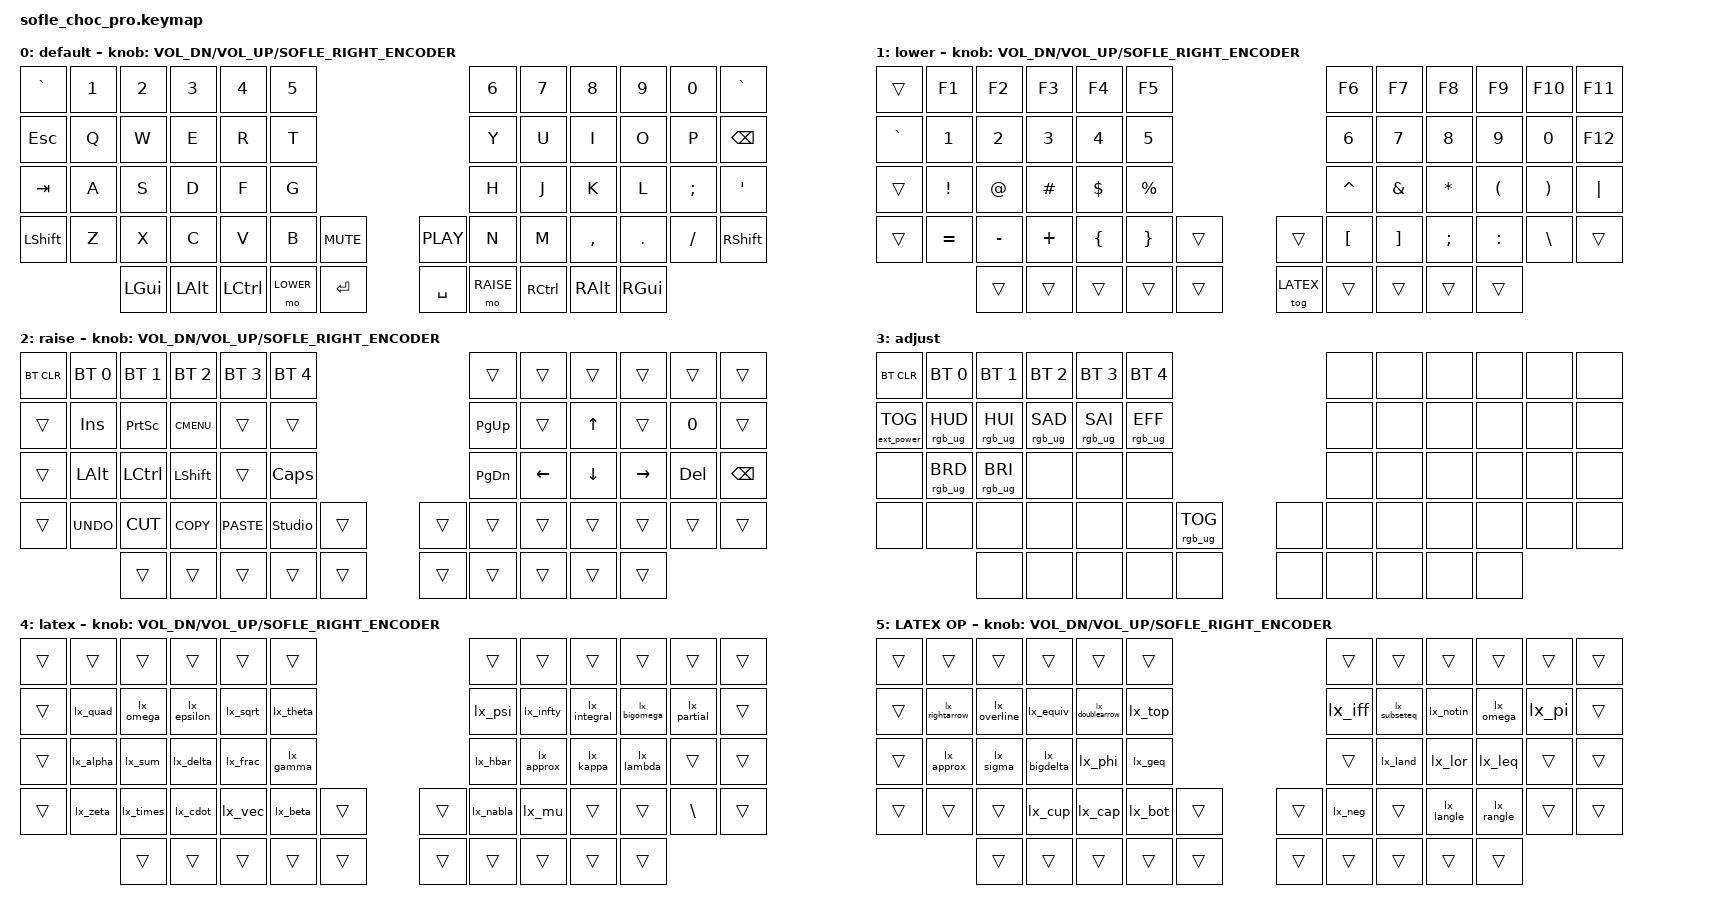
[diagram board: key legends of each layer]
/*
* Copyright (c) 2020 The ZMK Contributors
*
* SPDX-License-Identifier: MIT
*/

#include <behaviors.dtsi>
#include <dt-bindings/zmk/keys.h>
#include <dt-bindings/zmk/bt.h>
#include <dt-bindings/zmk/rgb.h>
#include <dt-bindings/zmk/ext_power.h>

// Only the optional scroll build changes the right-side sensor. Keep the stock
// media binding available in every existing firmware variant for rollback.
#ifndef SOFLE_RIGHT_ENCODER
#define SOFLE_RIGHT_ENCODER &inc_dec_kp C_PREV C_NEXT
#endif

#define BASE 0
#define LOWER 1
#define RAISE 2
#define ADJUST 3
#define LATEX 4
#define LATEX_OPS 5

/ {

  // Plain HID keystroke macros; usable in any application and on both operating systems.
  macros {
    lx_quad: lx_quad {
      compatible = "zmk,behavior-macro";
      #binding-cells = <0>;
      wait-ms = <35>;
      tap-ms = <35>;
      bindings = <&kp BSLH &kp Q &kp U &kp A &kp D>;
    };

    lx_omega: lx_omega {
      compatible = "zmk,behavior-macro";
      #binding-cells = <0>;
      wait-ms = <35>;
      tap-ms = <35>;
      bindings = <&kp BSLH &kp O &kp M &kp E &kp G &kp A>;
    };

    lx_epsilon: lx_epsilon {
      compatible = "zmk,behavior-macro";
      #binding-cells = <0>;
      wait-ms = <35>;
      tap-ms = <35>;
      bindings = <&kp BSLH &kp E &kp P &kp S &kp I &kp L &kp O &kp N>;
    };

    lx_sqrt: lx_sqrt {
      compatible = "zmk,behavior-macro";
      #binding-cells = <0>;
      wait-ms = <35>;
      tap-ms = <35>;
      bindings = <&kp BSLH &kp S &kp Q &kp R &kp T &kp LBRC &kp RBRC &kp LEFT>;
    };

    lx_theta: lx_theta {
      compatible = "zmk,behavior-macro";
      #binding-cells = <0>;
      wait-ms = <35>;
      tap-ms = <35>;
      bindings = <&kp BSLH &kp T &kp H &kp E &kp T &kp A>;
    };

    lx_psi: lx_psi {
      compatible = "zmk,behavior-macro";
      #binding-cells = <0>;
      wait-ms = <35>;
      tap-ms = <35>;
      bindings = <&kp BSLH &kp P &kp S &kp I>;
    };

    lx_infty: lx_infty {
      compatible = "zmk,behavior-macro";
      #binding-cells = <0>;
      wait-ms = <35>;
      tap-ms = <35>;
      bindings = <&kp BSLH &kp I &kp N &kp F &kp T &kp Y>;
    };

    lx_integral: lx_integral {
      compatible = "zmk,behavior-macro";
      #binding-cells = <0>;
      wait-ms = <35>;
      tap-ms = <35>;
      bindings = <&kp BSLH &kp I &kp N &kp T &kp LS(MINUS) &kp LBRC &kp RBRC &kp CARET &kp LBRC &kp RBRC &kp LEFT &kp LEFT &kp LEFT &kp LEFT>;
    };

    lx_bigomega: lx_bigomega {
      compatible = "zmk,behavior-macro";
      #binding-cells = <0>;
      wait-ms = <35>;
      tap-ms = <35>;
      bindings = <&kp BSLH &kp LS(O) &kp M &kp E &kp G &kp A>;
    };

    lx_partial: lx_partial {
      compatible = "zmk,behavior-macro";
      #binding-cells = <0>;
      wait-ms = <35>;
      tap-ms = <35>;
      bindings = <&kp BSLH &kp P &kp A &kp R &kp T &kp I &kp A &kp L>;
    };

    lx_alpha: lx_alpha {
      compatible = "zmk,behavior-macro";
      #binding-cells = <0>;
      wait-ms = <35>;
      tap-ms = <35>;
      bindings = <&kp BSLH &kp A &kp L &kp P &kp H &kp A>;
    };

    lx_sum: lx_sum {
      compatible = "zmk,behavior-macro";
      #binding-cells = <0>;
      wait-ms = <35>;
      tap-ms = <35>;
      bindings = <&kp BSLH &kp S &kp U &kp M &kp LS(MINUS) &kp LBRC &kp RBRC &kp CARET &kp LBRC &kp RBRC &kp LEFT &kp LEFT &kp LEFT &kp LEFT>;
    };

    lx_delta: lx_delta {
      compatible = "zmk,behavior-macro";
      #binding-cells = <0>;
      wait-ms = <35>;
      tap-ms = <35>;
      bindings = <&kp BSLH &kp D &kp E &kp L &kp T &kp A>;
    };

    lx_frac: lx_frac {
      compatible = "zmk,behavior-macro";
      #binding-cells = <0>;
      wait-ms = <35>;
      tap-ms = <35>;
      bindings = <&kp BSLH &kp F &kp R &kp A &kp C &kp LBRC &kp RBRC &kp LBRC &kp RBRC &kp LEFT &kp LEFT &kp LEFT>;
    };

    lx_gamma: lx_gamma {
      compatible = "zmk,behavior-macro";
      #binding-cells = <0>;
      wait-ms = <35>;
      tap-ms = <35>;
      bindings = <&kp BSLH &kp G &kp A &kp M &kp M &kp A>;
    };

    lx_hbar: lx_hbar {
      compatible = "zmk,behavior-macro";
      #binding-cells = <0>;
      wait-ms = <35>;
      tap-ms = <35>;
      bindings = <&kp BSLH &kp H &kp B &kp A &kp R>;
    };

    lx_approx: lx_approx {
      compatible = "zmk,behavior-macro";
      #binding-cells = <0>;
      wait-ms = <35>;
      tap-ms = <35>;
      bindings = <&kp BSLH &kp A &kp P &kp P &kp R &kp O &kp X>;
    };

    lx_kappa: lx_kappa {
      compatible = "zmk,behavior-macro";
      #binding-cells = <0>;
      wait-ms = <35>;
      tap-ms = <35>;
      bindings = <&kp BSLH &kp K &kp A &kp P &kp P &kp A>;
    };

    lx_lambda: lx_lambda {
      compatible = "zmk,behavior-macro";
      #binding-cells = <0>;
      wait-ms = <35>;
      tap-ms = <35>;
      bindings = <&kp BSLH &kp L &kp A &kp M &kp B &kp D &kp A>;
    };

    lx_zeta: lx_zeta {
      compatible = "zmk,behavior-macro";
      #binding-cells = <0>;
      wait-ms = <35>;
      tap-ms = <35>;
      bindings = <&kp BSLH &kp Z &kp E &kp T &kp A>;
    };

    lx_times: lx_times {
      compatible = "zmk,behavior-macro";
      #binding-cells = <0>;
      wait-ms = <35>;
      tap-ms = <35>;
      bindings = <&kp BSLH &kp T &kp I &kp M &kp E &kp S>;
    };

    lx_cdot: lx_cdot {
      compatible = "zmk,behavior-macro";
      #binding-cells = <0>;
      wait-ms = <35>;
      tap-ms = <35>;
      bindings = <&kp BSLH &kp C &kp D &kp O &kp T>;
    };

    lx_vec: lx_vec {
      compatible = "zmk,behavior-macro";
      #binding-cells = <0>;
      wait-ms = <35>;
      tap-ms = <35>;
      bindings = <&kp BSLH &kp V &kp E &kp C &kp LBRC &kp RBRC &kp LEFT>;
    };

    lx_beta: lx_beta {
      compatible = "zmk,behavior-macro";
      #binding-cells = <0>;
      wait-ms = <35>;
      tap-ms = <35>;
      bindings = <&kp BSLH &kp B &kp E &kp T &kp A>;
    };

    lx_nabla: lx_nabla {
      compatible = "zmk,behavior-macro";
      #binding-cells = <0>;
      wait-ms = <35>;
      tap-ms = <35>;
      bindings = <&kp BSLH &kp N &kp A &kp B &kp L &kp A>;
    };

    lx_mu: lx_mu {
      compatible = "zmk,behavior-macro";
      #binding-cells = <0>;
      wait-ms = <35>;
      tap-ms = <35>;
      bindings = <&kp BSLH &kp M &kp U>;
    };

    lx_sigma: lx_sigma {
      compatible = "zmk,behavior-macro";
      #binding-cells = <0>;
      wait-ms = <35>;
      tap-ms = <35>;
      bindings = <&kp BSLH &kp S &kp I &kp G &kp M &kp A>;
    };

    lx_bigdelta: lx_bigdelta {
      compatible = "zmk,behavior-macro";
      #binding-cells = <0>;
      wait-ms = <35>;
      tap-ms = <35>;
      bindings = <&kp BSLH &kp LS(D) &kp E &kp L &kp T &kp A>;
    };

    lx_phi: lx_phi {
      compatible = "zmk,behavior-macro";
      #binding-cells = <0>;
      wait-ms = <35>;
      tap-ms = <35>;
      bindings = <&kp BSLH &kp P &kp H &kp I>;
    };

    lx_pi: lx_pi {
      compatible = "zmk,behavior-macro";
      #binding-cells = <0>;
      wait-ms = <35>;
      tap-ms = <35>;
      bindings = <&kp BSLH &kp P &kp I>;
    };

    lx_neg: lx_neg {
      compatible = "zmk,behavior-macro";
      #binding-cells = <0>;
      wait-ms = <35>;
      tap-ms = <35>;
      bindings = <&kp BSLH &kp N &kp E &kp G>;
    };

    lx_equiv: lx_equiv {
      compatible = "zmk,behavior-macro";
      #binding-cells = <0>;
      wait-ms = <35>;
      tap-ms = <35>;
      bindings = <&kp BSLH &kp E &kp Q &kp U &kp I &kp V>;
    };

    lx_subseteq: lx_subseteq {
      compatible = "zmk,behavior-macro";
      #binding-cells = <0>;
      wait-ms = <35>;
      tap-ms = <35>;
      bindings = <&kp BSLH &kp S &kp U &kp B &kp S &kp E &kp T &kp E &kp Q>;
    };

    lx_leq: lx_leq {
      compatible = "zmk,behavior-macro";
      #binding-cells = <0>;
      wait-ms = <35>;
      tap-ms = <35>;
      bindings = <&kp BSLH &kp L &kp E &kp Q>;
    };

    lx_geq: lx_geq {
      compatible = "zmk,behavior-macro";
      #binding-cells = <0>;
      wait-ms = <35>;
      tap-ms = <35>;
      bindings = <&kp BSLH &kp G &kp E &kp Q>;
    };

    lx_land: lx_land {
      compatible = "zmk,behavior-macro";
      #binding-cells = <0>;
      wait-ms = <35>;
      tap-ms = <35>;
      bindings = <&kp BSLH &kp L &kp A &kp N &kp D>;
    };

    lx_lor: lx_lor {
      compatible = "zmk,behavior-macro";
      #binding-cells = <0>;
      wait-ms = <35>;
      tap-ms = <35>;
      bindings = <&kp BSLH &kp L &kp O &kp R>;
    };

    lx_cup: lx_cup {
      compatible = "zmk,behavior-macro";
      #binding-cells = <0>;
      wait-ms = <35>;
      tap-ms = <35>;
      bindings = <&kp BSLH &kp C &kp U &kp P>;
    };

    lx_cap: lx_cap {
      compatible = "zmk,behavior-macro";
      #binding-cells = <0>;
      wait-ms = <35>;
      tap-ms = <35>;
      bindings = <&kp BSLH &kp C &kp A &kp P>;
    };

    lx_notin: lx_notin {
      compatible = "zmk,behavior-macro";
      #binding-cells = <0>;
      wait-ms = <35>;
      tap-ms = <35>;
      bindings = <&kp BSLH &kp N &kp O &kp T &kp I &kp N>;
    };

    lx_doublearrow: lx_doublearrow {
      compatible = "zmk,behavior-macro";
      #binding-cells = <0>;
      wait-ms = <35>;
      tap-ms = <35>;
      bindings = <&kp BSLH &kp LS(R) &kp I &kp G &kp H &kp T &kp A &kp R &kp R &kp O &kp W>;
    };

    lx_rightarrow: lx_rightarrow {
      compatible = "zmk,behavior-macro";
      #binding-cells = <0>;
      wait-ms = <35>;
      tap-ms = <35>;
      bindings = <&kp BSLH &kp R &kp I &kp G &kp H &kp T &kp A &kp R &kp R &kp O &kp W>;
    };

    lx_bot: lx_bot {
      compatible = "zmk,behavior-macro";
      #binding-cells = <0>;
      wait-ms = <35>;
      tap-ms = <35>;
      bindings = <&kp BSLH &kp B &kp O &kp T>;
    };

    lx_top: lx_top {
      compatible = "zmk,behavior-macro";
      #binding-cells = <0>;
      wait-ms = <35>;
      tap-ms = <35>;
      bindings = <&kp BSLH &kp T &kp O &kp P>;
    };

    lx_iff: lx_iff {
      compatible = "zmk,behavior-macro";
      #binding-cells = <0>;
      wait-ms = <35>;
      tap-ms = <35>;
      bindings = <&kp BSLH &kp I &kp F &kp F>;
    };

    lx_hat: lx_hat {
      compatible = "zmk,behavior-macro";
      #binding-cells = <0>;
      wait-ms = <35>;
      tap-ms = <35>;
      bindings = <&kp BSLH &kp H &kp A &kp T &kp LBRC &kp RBRC &kp LEFT>;
    };

    lx_overline: lx_overline {
      compatible = "zmk,behavior-macro";
      #binding-cells = <0>;
      wait-ms = <35>;
      tap-ms = <35>;
      bindings = <&kp BSLH &kp O &kp V &kp E &kp R &kp L &kp I &kp N &kp E &kp LBRC &kp RBRC &kp LEFT>;
    };

    lx_langle: lx_langle {
      compatible = "zmk,behavior-macro";
      #binding-cells = <0>;
      wait-ms = <35>;
      tap-ms = <35>;
      bindings = <&kp BSLH &kp L &kp A &kp N &kp G &kp L &kp E>;
    };

    lx_rangle: lx_rangle {
      compatible = "zmk,behavior-macro";
      #binding-cells = <0>;
      wait-ms = <35>;
      tap-ms = <35>;
      bindings = <&kp BSLH &kp R &kp A &kp N &kp G &kp L &kp E>;
    };
  };

  // Activate ADJUST layer by pressing raise and lower
  conditional_layers {
    compatible = "zmk,conditional-layers";
    adjust_layer {
      if-layers = <LOWER RAISE>;
      then-layer = <ADJUST>;
    };
    latex_ops_conditional {
      if-layers = <LATEX RAISE>;
      then-layer = <LATEX_OPS>;
    };
  };

  keymap {
    compatible = "zmk,keymap";

    default_layer {
      display-name = "default";
      // ------------------------------------------------------------------------------------------------------------
      // |   `   |  1  |  2  |  3   |  4   |  5   |                   |  6   |  7    |  8    |  9   |   0   |   `   |
      // |  ESC  |  Q  |  W  |  E   |  R   |  T   |                   |  Y   |  U    |  I    |  O   |   P   | BKSPC |
      // |  TAB  |  A  |  S  |  D   |  F   |  G   |                   |  H   |  J    |  K    |  L   |   ;   |   '   |
      // | SHIFT |  Z  |  X  |  C   |  V   |  B   |  MUTE  |  | PLAY  |  N   |  M    |  ,    |  .   |   /   | SHIFT |
      //               | GUI | ALT  | CTRL | LOWER|  ENTER |  | SPACE | RAISE| CTRL  | ALT   | GUI  |
      bindings = <
        &kp GRAVE &kp N1 &kp N2   &kp N3   &kp N4    &kp N5                           &kp N6 &kp N7    &kp N8    &kp N9   &kp N0   &kp GRAVE
        &kp ESC   &kp Q  &kp W    &kp E    &kp R     &kp T                            &kp Y  &kp U     &kp I     &kp O    &kp P    &kp BSPC
        &kp TAB   &kp A  &kp S    &kp D    &kp F     &kp G                            &kp H  &kp J     &kp K     &kp L    &kp SEMI &kp SQT
        &kp LSHFT &kp Z  &kp X    &kp C    &kp V     &kp B   &kp C_MUTE &kp C_PLAY    &kp N  &kp M     &kp COMMA &kp DOT  &kp FSLH &kp RSHFT
        &kp LGUI &kp LALT &kp LCTRL &mo LOWER  &kp RET    &kp SPACE  &mo RAISE  &kp RCTRL &kp RALT  &kp RGUI
      >;

      sensor-bindings = <&inc_dec_kp C_VOL_DN C_VOL_UP SOFLE_RIGHT_ENCODER>;
    };

    lower_layer {
      display-name = "lower";
      // ------------------------------------------------------------------------------------------------------------
      // |       |  F1 |  F2 |  F3  |  F4  |  F5  |                   |  F6  |  F7   |  F8   |  F9  |  F10  |  F11  |
      // |   `   |  1  |  2  |  3   |  4   |  5   |                   |  6   |  7    |  8    |  9   |   0   |  F12  |
      // |       |  !  |  @  |  #   |  $   |  %   |                   |  ^   |  &    |  *    |  (   |   )   |   |   |
      // |       |  =  |  -  |  +   |  {   |  }   |        |  |       |  [   |  ]    |  ;    |  :   |   \   |       |
      //               |     |      |      |      |        |  |       |      |       |       |      |
      bindings = <
        &trans    &kp F1    &kp F2    &kp F3      &kp F4    &kp F5                    &kp F6    &kp F7   &kp F8    &kp F9    &kp F10   &kp F11
        &kp GRAVE &kp N1    &kp N2    &kp N3      &kp N4    &kp N5                    &kp N6    &kp N7   &kp N8    &kp N9    &kp N0    &kp F12
        &trans    &kp EXCL  &kp AT    &kp HASH    &kp DLLR  &kp PRCNT                 &kp CARET &kp AMPS &kp ASTRK &kp LPAR  &kp RPAR  &kp PIPE
        &trans    &kp EQUAL &kp MINUS &kp PLUS &kp LBRC  &kp RBRC   &trans &trans  &kp LBKT  &kp RBKT &kp SEMI  &kp COLON &kp BSLH  &trans
        &trans    &trans      &trans    &trans     &trans &tog LATEX  &trans    &trans   &trans    &trans
      >;

      sensor-bindings = <&inc_dec_kp C_VOL_DN C_VOL_UP SOFLE_RIGHT_ENCODER>;
    };

    raise_layer {
      display-name = "raise";
      // ------------------------------------------------------------------------------------------------------------
      // | BTCLR | BT1  | BT2  |  BT3  |  BT4  |  BT5 |                |      |      |       |      |       |       |
      // |       | INS  | PSCR | GUI   |       |      |                | PGUP |      |   ^   |      |       |       |
      // |       | ALT  | CTRL | SHIFT |       | CAPS |                | PGDN |   <- |   v   |  ->  |  DEL  | BKSPC |
      // |       | UNDO | CUT  | COPY  | PASTE |      |      |  |      |      |      |       |      |       |       |
      //                |      |       |       |      |      |  |      |      |      |       |      |
      bindings = <
        &bt BT_CLR &bt BT_SEL 0 &bt BT_SEL 1 &bt BT_SEL 2 &bt BT_SEL 3 &bt BT_SEL 4                  &trans    &trans    &trans   &trans    &trans  &trans
        &trans     &kp INS      &kp PSCRN    &kp K_CMENU  &trans       &trans                        &kp PG_UP &trans    &kp UP   &trans    &kp N0  &trans
        &trans     &kp LALT     &kp LCTRL    &kp LSHFT    &trans       &kp CLCK                      &kp PG_DN &kp LEFT  &kp DOWN &kp RIGHT &kp DEL &kp BSPC
        &trans     &kp K_UNDO   &kp K_CUT    &kp K_COPY   &kp K_PASTE  &studio_unlock        &trans  &trans  &trans    &trans    &trans   &trans    &trans  &trans
        &trans       &trans       &trans       &trans        &trans  &trans  &trans    &trans    &trans   &trans
      >;

      sensor-bindings = <&inc_dec_kp C_VOL_DN C_VOL_UP SOFLE_RIGHT_ENCODER>;
    };

    adjust_layer {
      // ----------------------------------------------------------------------------------------------------------------------------
      // | BTCLR  |  BT1    |  BT2    |   BT3   |   BT4   |   BT5   |                  |      |      |       |      |       |       |
      // | EXTPWR | RGB_HUD | RGB_HUI | RGB_SAD | RGB_SAI | RGB_EFF |                  |      |      |       |      |       |       |
      // |        | RGB_BRD | RGB_BRI |         |         |         |                  |      |      |       |      |       |       |
      // |        |         |         |         |         |         | RGB_TOG | |      |      |      |       |      |       |       |
      //                    |         |         |         |         |         | |      |      |      |       |      |
      display-name = "adjust";
      bindings = <
        &bt BT_CLR        &bt BT_SEL 0    &bt BT_SEL 1    &bt BT_SEL 2    &bt BT_SEL 3    &bt BT_SEL 4                            &none &none &none &none &none &none
        &ext_power EP_TOG &rgb_ug RGB_HUD &rgb_ug RGB_HUI &rgb_ug RGB_SAD &rgb_ug RGB_SAI &rgb_ug RGB_EFF                         &none &none &none &none &none &none
        &none             &rgb_ug RGB_BRD &rgb_ug RGB_BRI &none           &none           &none                                   &none &none &none &none &none &none
        &none             &none           &none           &none           &none           &none            &rgb_ug RGB_TOG &none  &none &none &none &none &none &none
        &none           &none           &none           &none            &none           &none  &none &none &none &none
      >;
    };
    // LOWER + SPACE toggles this layer. Repeat the same chord to exit.
    // All other non-letter keys inherit the original base behavior.
    latex_layer {
      display-name = "latex";
      bindings = <
        &trans   &trans     &trans       &trans     &trans     &trans                        &trans     &trans       &trans        &trans        &trans       &trans
        &trans   &lx_quad   &lx_omega    &lx_epsilon &lx_sqrt   &lx_theta                    &lx_psi    &lx_infty    &lx_integral &lx_bigomega  &lx_partial  &trans
        &trans   &lx_alpha  &lx_sum      &lx_delta   &lx_frac   &lx_gamma                    &lx_hbar   &lx_approx   &lx_kappa    &lx_lambda    &trans       &trans
        &trans  &lx_zeta  &lx_times  &lx_cdot  &lx_vec  &lx_beta  &trans  &trans  &lx_nabla  &lx_mu  &trans  &trans  &kp BSLH  &trans
        &trans   &trans     &trans       &trans      &trans     &trans     &trans     &trans      &trans      &trans
      >;
      sensor-bindings = <&inc_dec_kp C_VOL_DN C_VOL_UP SOFLE_RIGHT_ENCODER>;
    };

    // Hold RAISE in LaTeX mode for operators, set theory and extra Greek.
    latex_operator_layer {
      display-name = "LATEX OP";
      bindings = <
        &trans &trans &trans &trans &trans &trans &trans &trans &trans &trans &trans &trans
        &trans &lx_rightarrow &lx_overline &lx_equiv &lx_doublearrow &lx_top &lx_iff &lx_subseteq &lx_notin &lx_omega &lx_pi &trans
        &trans &lx_approx &lx_sigma &lx_bigdelta &lx_phi &lx_geq &trans &lx_land &lx_lor &lx_leq &trans &trans
        &trans &trans &trans &lx_cup &lx_cap &lx_bot &trans &trans &lx_neg &trans &lx_langle &lx_rangle &trans &trans
        &trans &trans &trans &trans &trans &trans &trans &trans &trans &trans
      >;
      sensor-bindings = <&inc_dec_kp C_VOL_DN C_VOL_UP SOFLE_RIGHT_ENCODER>;
    };

  };
};
